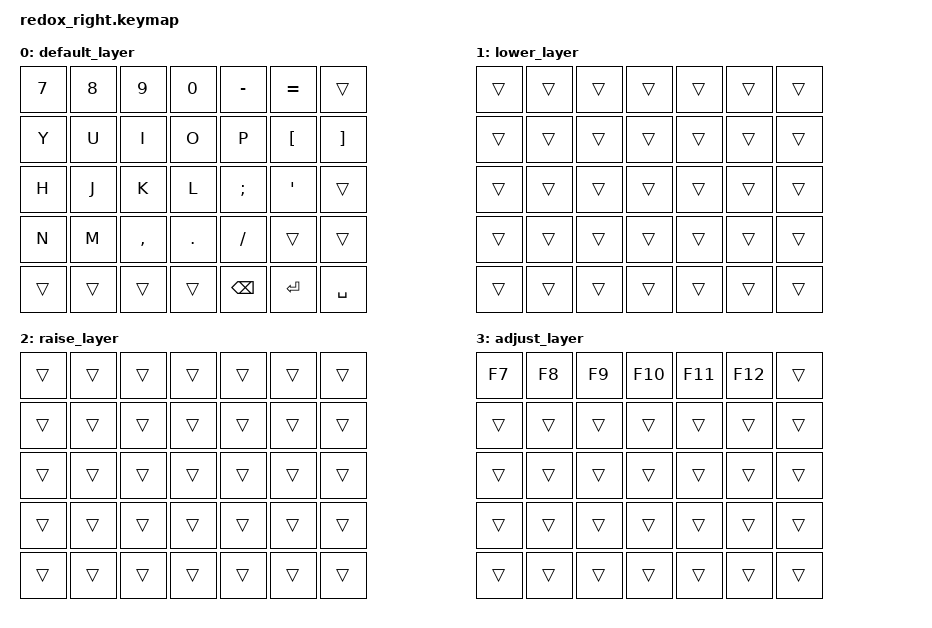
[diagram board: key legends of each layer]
/*
 * Copyright (c) 2021 The ZMK Contributors
 *
 * SPDX-License-Identifier: MIT
 */

#include <behaviors.dtsi>
#include <dt-bindings/zmk/keys.h>
#include <dt-bindings/zmk/bt.h>
#include <dt-bindings/zmk/ext_power.h>
#include <dt-bindings/zmk/outputs.h>

/ {
    keymap {
        compatible = "zmk,keymap";

        default_layer {
            /*
             * Правая половинка клавиатуры (7x5)
             * Столбцы: 1-7 (от центра к краям)
             * Ряды: 1-5 (сверху вниз)
             * 
             * ┌───┬───┬───┬───┬───┬───┬───┐
             * │ 7 │ 8 │ 9 │ 0 │ - │ = │   │  <- Ряд 1
             * ├───┼───┼───┼───┼───┼───┤   │
             * │ Y │ U │ I │ O │ P │ [ │ ] │  <- Ряд 2
             * ├───┼───┼───┼───┼───┼───┤   │
             * │ H │ J │ K │ L │ ; │ ' │   │  <- Ряд 3
             * ├───┼───┼───┼───┼───┼───┤   │
             * │ N │ M │ , │ . │ / │   │   │  <- Ряд 4 (с дополнительной кнопкой)
             * ├───┼───┼───┼───┼───┼───┤   │
             * │   │   │   │   │BSP│ENT│SPC│  <- Ряд 5 (островок)
             * └───┴───┴───┴───┴───┴───┴───┘
             *   1   2   3   4   5   6   7
             */
            bindings = <
                &kp N7    &kp N8    &kp N9    &kp N0    &kp MINUS &kp EQUAL &trans
                &kp Y     &kp U     &kp I     &kp O     &kp P     &kp LBKT  &kp RBKT
                &kp H     &kp J     &kp K     &kp L     &kp SEMI  &kp SQT   &trans
                &kp N     &kp M     &kp COMMA &kp DOT   &kp FSLH  &trans    &trans
                &trans    &trans    &trans    &trans    &kp BSPC  &kp RET   &kp SPACE
            >;
        };

        lower_layer {
            /*
             * ┌───┬───┬───┬───┬───┬───┬───┐
             * │   │   │   │   │   │   │   │
             * ├───┼───┼───┼───┼───┼───┤   │
             * │   │   │   │   │   │   │   │
             * ├───┼───┼───┼───┼───┼───┤   │
             * │   │   │   │   │   │   │   │
             * ├───┼───┼───┼───┼───┼───┤   │
             * │   │   │   │   │   │   │   │
             * ├───┼───┼───┼───┼───┼───┤   │
             * │   │   │   │   │   │   │   │
             * └───┴───┴───┴───┴───┴───┴───┘
             */
            bindings = <
                &trans    &trans    &trans    &trans    &trans    &trans    &trans
                &trans    &trans    &trans    &trans    &trans    &trans    &trans
                &trans    &trans    &trans    &trans    &trans    &trans    &trans
                &trans    &trans    &trans    &trans    &trans    &trans    &trans
                &trans    &trans    &trans    &trans    &trans    &trans    &trans
            >;
        };

        raise_layer {
            /*
             * ┌───┬───┬───┬───┬───┬───┬───┐
             * │   │   │   │   │   │   │   │
             * ├───┼───┼───┼───┼───┼───┤   │
             * │   │   │   │   │   │   │   │
             * ├───┼───┼───┼───┼───┼───┤   │
             * │   │   │   │   │   │   │   │
             * ├───┼───┼───┼───┼───┼───┤   │
             * │   │   │   │   │   │   │   │
             * ├───┼───┼───┼───┼───┼───┤   │
             * │   │   │   │   │   │   │   │
             * └───┴───┴───┴───┴───┴───┴───┘
             */
            bindings = <
                &trans    &trans    &trans    &trans    &trans    &trans    &trans
                &trans    &trans    &trans    &trans    &trans    &trans    &trans
                &trans    &trans    &trans    &trans    &trans    &trans    &trans
                &trans    &trans    &trans    &trans    &trans    &trans    &trans
                &trans    &trans    &trans    &trans    &trans    &trans    &trans
            >;
        };

        adjust_layer {
            /*
             * ┌───┬───┬───┬───┬───┬───┬───┐
             * │F7 │F8 │F9 │F10│F11│F12│   │
             * ├───┼───┼───┼───┼───┼───┤   │
             * │   │   │   │   │   │   │   │
             * ├───┼───┼───┼───┼───┼───┤   │
             * │   │   │   │   │   │   │   │
             * ├───┼───┼───┼───┼───┼───┤   │
             * │   │   │   │   │   │   │   │
             * ├───┼───┼───┼───┼───┼───┤   │
             * │   │   │   │   │   │   │   │
             * └───┴───┴───┴───┴───┴───┴───┘
             */
            bindings = <
                &kp F7    &kp F8    &kp F9    &kp F10   &kp F11   &kp F12   &trans
                &trans    &trans    &trans    &trans    &trans    &trans    &trans
                &trans    &trans    &trans    &trans    &trans    &trans    &trans
                &trans    &trans    &trans    &trans    &trans    &trans    &trans
                &trans    &trans    &trans    &trans    &trans    &trans    &trans
            >;
        };
    };
};
